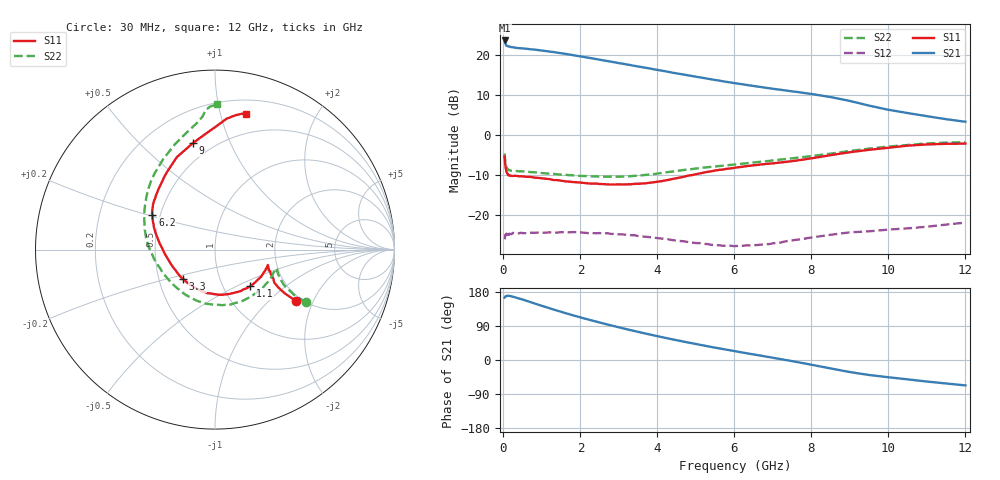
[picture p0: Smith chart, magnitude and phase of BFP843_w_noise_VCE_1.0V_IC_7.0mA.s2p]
! Infineon Technologies  Discrete & RF Semiconductors
! BFP843
! VCE =  1.0 V,  IC =  7.0 mA
! Common Emitter S-Parameters:  Aug 2013
# GHz  S  MA  R  50
!  f  S11  S21  S12  S22
! GHz  MAG  ANG  MAG  ANG  MAG  ANG  MAG  ANG
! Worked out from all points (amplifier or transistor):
!   103 points, 30 MHz to 12 GHz, reference 50 ohm
!   highest |S21| = 23.5 dB at 30 MHz (marker M1)
!   |S21| within 3 dB of that: start of sweep to 1.373 GHz
!   unconditionally stable (mu >= 1): 168.7 MHz to 1.188 GHz; 1.246 GHz to 1.473 GHz; 1.527 GHz to 11.22 GHz
!   at 400 MHz: K = 1.01, MAG = 22.4 dB, |S12| = -24.6 dB
!   at 3.7 GHz: K = 1.26, MAG = 18.0 dB, |S12| = -25.4 dB
!   at 12 GHz: K = 0.89, MSG = 12.6 dB, |S12| = -21.9 dB
!   lowest NFmin = 0.91 dB at 450 MHz
!   S11 on the Smith chart (normalised r, x): 30 MHz: 1.86, -1.49; 1.1 GHz: 1.34, -0.59; 3.3 GHz: 0.67, -0.23; 6.2 GHz: 0.45, +0.21; 9 GHz: 0.39, +0.73; 12 GHz: 0.32, +1.21
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0.03  0.5341 -32.4  14.99 164.8  0.0497 32.1  0.5843 -30.1
0.04  0.459 -32.1  14.15 165.5  0.0521 23.9  0.508 -29.8
0.05  0.4144 -31.0  13.66 167.7  0.0566 18.0  0.4585 -28.2
0.07  0.3606 -26.0  13.02 168.8  0.0562 14.3  0.4075 -25.0
0.13  0.318 -19.5  12.64 169.7  0.0575 8.1  0.3622 -18.7
0.3  0.3082 -17.2  12.18 165.6  0.0592 3.2  0.3525 -18.8
0.6  0.2991 -26.7  11.81 156.1  0.0592 1.2  0.3479 -29.8
1.1  0.2827 -45.9  11.06 139.7  0.0602 -2.2  0.3299 -52.1
1.3  0.2725 -54.2  10.76 133.2  0.0604 -3.8  0.3249 -60.9
1.6  0.2626 -66.7  10.23 124.0  0.0605 -6.0  0.3178 -74.0
2.1  0.2502 -87.7  9.311 109.6  0.06 -9.2  0.3054 -95.5
2.7  0.2402 -112.8  8.303 93.7  0.0591 -13.7  0.2993 -119.2
3.3  0.2413 -137.1  7.39 78.9  0.056 -16.9  0.3041 -141.8
4.1  0.2635 -166.3  6.314 60.7  0.0508 -19.9  0.3334 -166.7
5  0.322 169.9  5.295 42.2  0.0446 -19.2  0.3794 174.0
6.1  0.3932 152.6  4.336 21.7  0.0412 -10.1  0.4301 156.3
6.2  0.3985 151.1  4.267 19.9  0.0412 -9.4  0.4355 154.7
7.3  0.4569 134.2  3.584 0.5  0.0466 -0.6  0.4961 139.0
8.5  0.5569 112.5  2.95 -22.3  0.0566 -0.7  0.5818 119.6
9  0.6059 101.8  2.64 -31.8  0.0607 -3.0  0.628 110.8
10.5  0.7314 85.0  1.865 -51.1  0.068 -7.8  0.7455 95.3
12  0.7757 77.0  1.452 -67.0  0.0803 -13.8  0.809 89.3
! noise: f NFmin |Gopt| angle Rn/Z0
0.45  0.91  0.12  7  0.01
0.9  0.92  0.13  16  0.03
1.5  0.95  0.12  26  0.09
1.9  0.97  0.1  39  0.18
2.4  1.01  0.09  49  0.25
3.5  1.08  0.06  61  0.28
5.5  1.24  0.14  -140  0.35
10  1.91  0.5  -70  0.42
